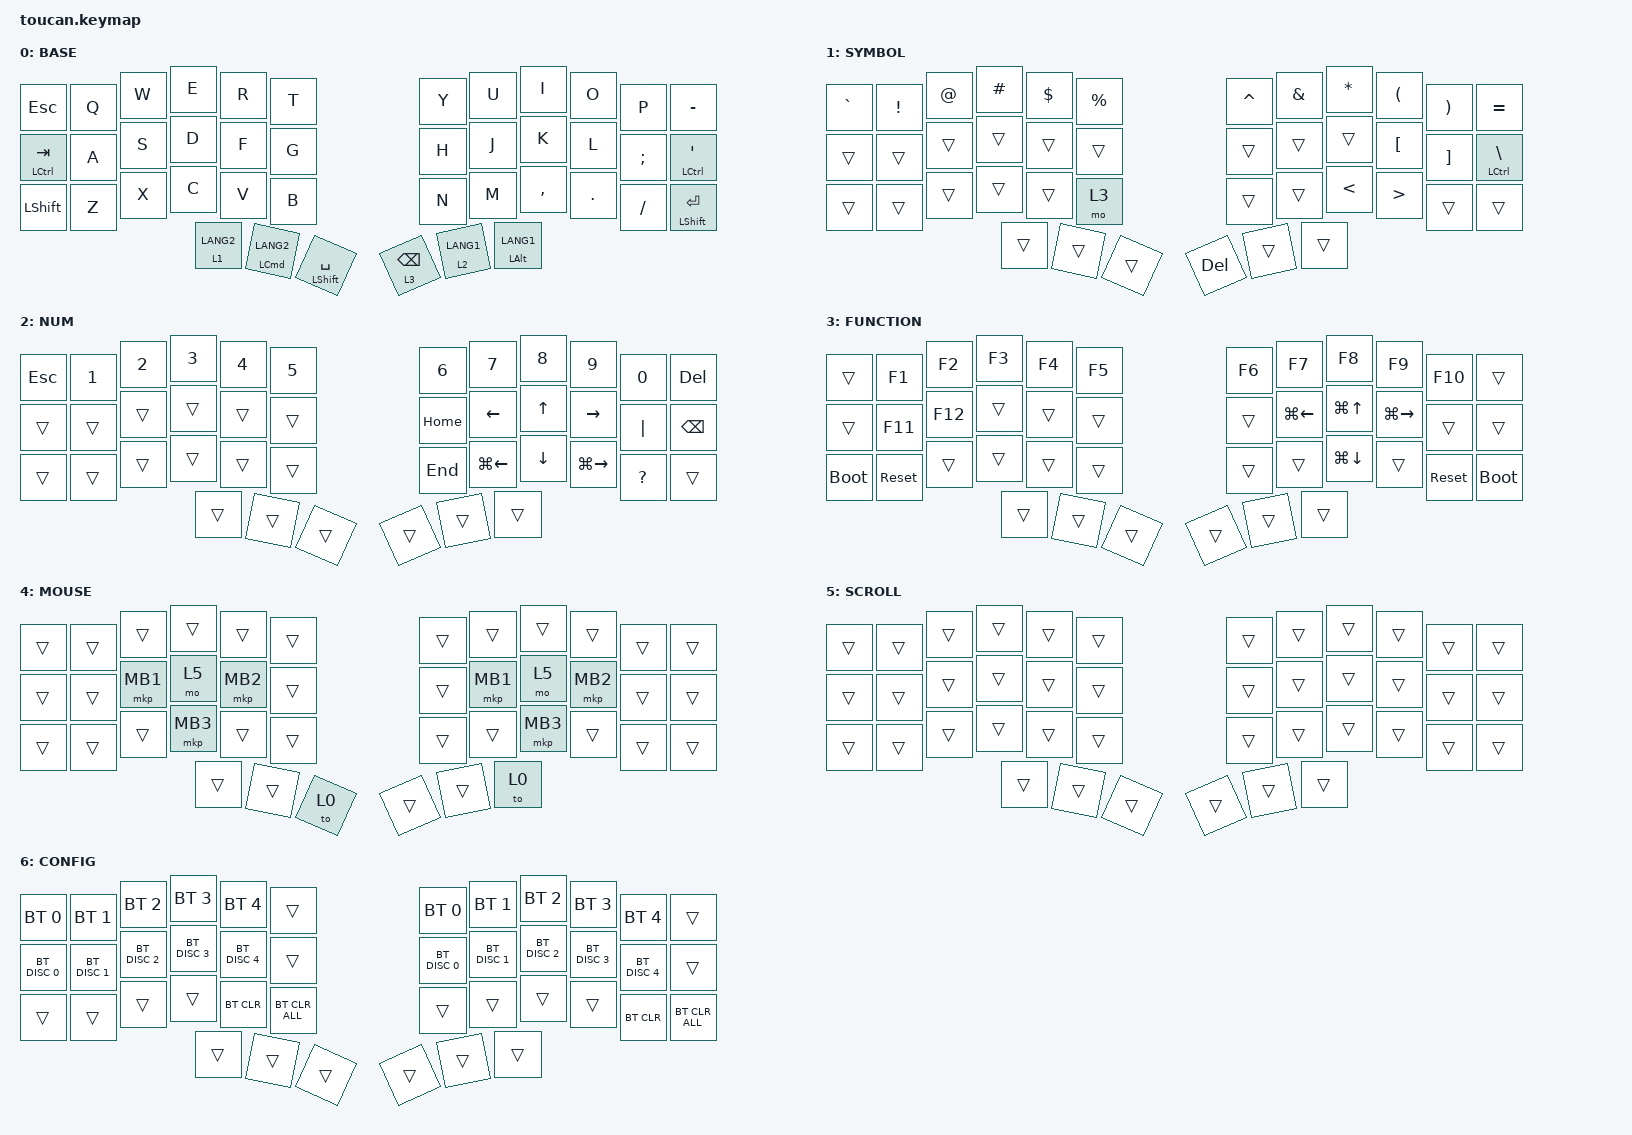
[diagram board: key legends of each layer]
#include <behaviors.dtsi>
#include <dt-bindings/zmk/bt.h>
#include <dt-bindings/zmk/keys.h>
#include <dt-bindings/zmk/pointing.h>

#define BASE 0
#define NAV  1
#define SYM  2
#define ADJ  3

&mt {
    quick-tap-ms = <180>;
    flavor = "balanced";
};

&lt {
    quick-tap-ms = <180>;
    flavor = "balanced";
};

/ {
    conditional_layers {
        compatible = "zmk,conditional-layers";

        tri_layer {
            if-layers = <1 2>;
            then-layer = <6>;
        };
    };

    combos {
        compatible = "zmk,combos";

        Config_layer {
            bindings = <&mo 6>;
            key-positions = <36 38>;
        };

        tab {
            bindings = <&kp TAB>;
            key-positions = <15 16>;
        };

        shift_tab {
            bindings = <&kp LS(TAB)>;
            key-positions = <3 4>;
        };

        minus {
            bindings = <&kp MINUS>;
            key-positions = <7 8>;
        };

        eq {
            bindings = <&kp EQUAL>;
            key-positions = <8 9>;
        };

        enter {
            bindings = <&kp ENTER>;
            key-positions = <19 20>;
        };
    };

    keymap {
        compatible = "zmk,keymap";

        default_layer {
            display-name = "BASE";
            bindings = <
&kp ESCAPE     &kp Q  &kp W  &kp E        &kp R                   &kp T                 &kp Y            &kp U        &kp I               &kp O    &kp P     &kp MINUS
&mt LCTRL TAB  &kp A  &kp S  &kp D        &kp F                   &kp G                 &kp H            &kp J        &kp K               &kp L    &kp SEMI  &mt LEFT_CONTROL SQT
&kp LSHFT      &kp Z  &kp X  &kp C        &kp V                   &kp B                 &kp N            &kp M        &kp COMMA           &kp DOT  &kp FSLH  &mt LEFT_SHIFT ENTER
                             &lt 1 LANG2  &mt LEFT_COMMAND LANG2  &mt LEFT_SHIFT SPACE  &lt 3 BACKSPACE  &lt 2 LANG1  &mt LEFT_ALT LANG1
            >;
        };

        SYMBOL {
            display-name = "SYMBOL";
            bindings = <
&kp GRAVE  &kp EXCLAMATION  &kp AT_SIGN  &kp HASH  &kp DOLLAR  &kp PERCENT  &kp CARET   &kp AMPERSAND  &kp ASTERISK   &kp LEFT_PARENTHESIS  &kp RIGHT_PARENTHESIS  &kp EQUAL
&trans     &trans           &trans       &trans    &trans      &trans       &trans      &trans         &trans         &kp LEFT_BRACKET      &kp RIGHT_BRACKET      &mt LEFT_CONTROL BACKSLASH
&trans     &trans           &trans       &trans    &trans      &mo 3        &trans      &trans         &kp LESS_THAN  &kp GREATER_THAN      &trans                 &trans
                                         &trans    &trans      &trans       &kp DELETE  &trans         &trans
            >;
        };

        NUM {
            display-name = "NUM";
            bindings = <
&kp ESCAPE  &kp NUMBER_1  &kp NUMBER_2  &kp NUMBER_3  &kp NUMBER_4  &kp NUMBER_5  &kp NUMBER_6  &kp NUMBER_7        &kp NUMBER_8    &kp NUMBER_9         &kp NUMBER_0  &kp DELETE
&trans      &trans        &trans        &trans        &trans        &trans        &kp HOME      &kp LEFT_ARROW      &kp UP_ARROW    &kp RIGHT_ARROW      &kp PIPE      &kp BACKSPACE
&trans      &trans        &trans        &trans        &trans        &trans        &kp END       &kp LG(LEFT_ARROW)  &kp DOWN_ARROW  &kp LG(RIGHT_ARROW)  &kp QUESTION  &trans
                                        &trans        &trans        &trans        &trans        &trans              &trans
            >;
        };

        FUNCTION {
            display-name = "FUNCTION";
            bindings = <
&trans       &kp F1      &kp F2   &kp F3  &kp F4  &kp F5  &kp F6  &kp F7              &kp F8              &kp F9               &kp F10     &trans
&trans       &kp F11     &kp F12  &trans  &trans  &trans  &trans  &kp LG(LEFT_ARROW)  &kp LG(UP_ARROW)    &kp LG(RIGHT_ARROW)  &trans      &trans
&bootloader  &sys_reset  &trans   &trans  &trans  &trans  &trans  &trans              &kp LG(DOWN_ARROW)  &trans               &sys_reset  &bootloader
                                  &trans  &trans  &trans  &trans  &trans              &trans
            >;
        };

        MOUSE {
            display-name = "MOUSE";
            bindings = <
&trans  &trans  &trans    &trans    &trans    &trans  &trans  &trans    &trans    &trans    &trans  &trans
&trans  &trans  &mkp MB1  &mo 5     &mkp MB2  &trans  &trans  &mkp MB1  &mo 5     &mkp MB2  &trans  &trans
&trans  &trans  &trans    &mkp MB3  &trans    &trans  &trans  &trans    &mkp MB3  &trans    &trans  &trans
                          &trans    &trans    &to 0   &trans  &trans    &to 0
            >;
        };

        SCROLL {
            display-name = "SCROLL";
            bindings = <
&trans  &trans  &trans  &trans  &trans  &trans  &trans  &trans  &trans  &trans  &trans  &trans
&trans  &trans  &trans  &trans  &trans  &trans  &trans  &trans  &trans  &trans  &trans  &trans
&trans  &trans  &trans  &trans  &trans  &trans  &trans  &trans  &trans  &trans  &trans  &trans
                        &trans  &trans  &trans  &trans  &trans  &trans
            >;
        };

        CONFIG {
            display-name = "CONFIG";
            bindings = <
&bt BT_SEL 0   &bt BT_SEL 1   &bt BT_SEL 2   &bt BT_SEL 3   &bt BT_SEL 4   &trans          &bt BT_SEL 0   &bt BT_SEL 1   &bt BT_SEL 2   &bt BT_SEL 3   &bt BT_SEL 4   &trans
&bt BT_DISC 0  &bt BT_DISC 1  &bt BT_DISC 2  &bt BT_DISC 3  &bt BT_DISC 4  &trans          &bt BT_DISC 0  &bt BT_DISC 1  &bt BT_DISC 2  &bt BT_DISC 3  &bt BT_DISC 4  &trans
&trans         &trans         &trans         &trans         &bt BT_CLR     &bt BT_CLR_ALL  &trans         &trans         &trans         &trans         &bt BT_CLR     &bt BT_CLR_ALL
                                             &trans         &trans         &trans          &trans         &trans         &trans
            >;
        };
    };
};
